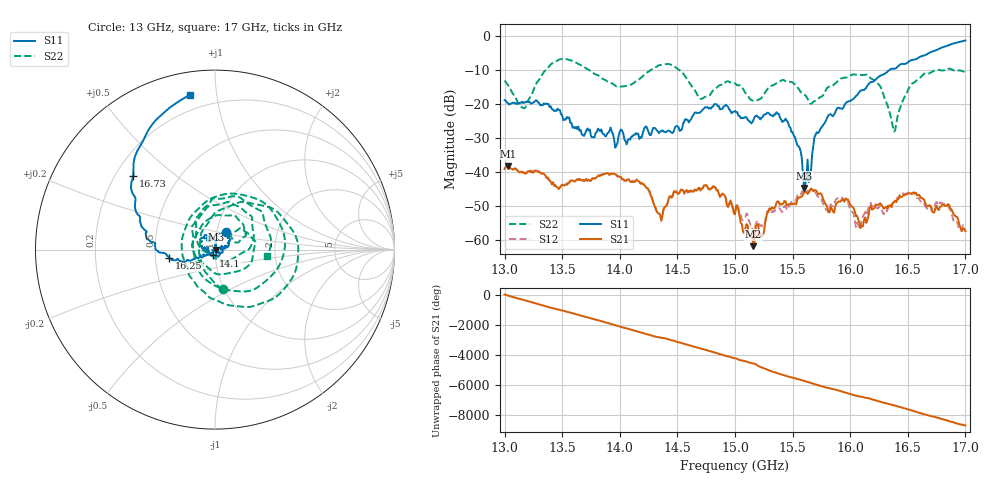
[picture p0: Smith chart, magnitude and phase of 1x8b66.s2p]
!Keysight Technologies,P9374A,MY57211807,A.19.30.04
!Date: Friday, May 08, 2026 14:30:42
!Correction: S11(C  2-Port  )
!S21(C  2-Port  )
!S12(C  2-Port  )
!S22(C  2-Port  )
!S2P File: Measurements: S11, S21, S12, S22:
# Hz S  dB  R 50
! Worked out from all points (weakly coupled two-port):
!   401 points, 13 GHz to 17 GHz, reference 50 ohm
!   highest |S21| = -38.08 dB at 13.03 GHz (marker M1); lowest = -61.7 dB at 15.16 GHz (marker M2)
!   lowest |S11| = -44.5 dB at 15.6 GHz (marker M3), VSWR 1.01, Z = 50.6 - j0.0519 ohm
!   |S11| at or under -10 dB: start of sweep to 16.34 GHz
!   |S22| runs from -28.0 to -6.7 dB; largest |S21 - S12| = 0.0011
!   S11 on the Smith chart (normalised r, x): 13 GHz: 1.11, +0.22; 14.1 GHz: 0.98, -0.06; 16.25 GHz: 0.59, -0.06; 16.73 GHz: 0.27, +0.36; 17 GHz: 0.12, +0.84
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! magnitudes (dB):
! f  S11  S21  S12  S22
! 13 GHz  -18.8  -39.0  -38.9  -13.0
! 13.03 GHz  -19.7  -38.1  -38.1  -14.4
! 13.17 GHz  -19.3  -40.0  -40.0  -21.2
! 13.41 GHz  -21.3  -43.4  -43.6  -8.0
! 13.67 GHz  -28.8  -42.3  -42.6  -8.6
! 14.1 GHz  -29.5  -42.8  -42.6  -14.1
! 14.34 GHz  -28.5  -52.1  -51.9  -8.5
! 14.74 GHz  -20.8  -43.9  -43.8  -17.8
! 15 GHz  -21.9  -52.3  -52.0  -13.8
! 15.16 GHz  -24.6  -61.7  -59.3  -18.9
! 15.45 GHz  -24.9  -49.7  -50.8  -13.3
! 15.6 GHz  -44.5  -45.8  -45.0  -17.1
! 15.67 GHz  -34.6  -45.0  -45.1  -19.6
! 15.81 GHz  -23.2  -51.6  -51.7  -14.9
! 15.97 GHz  -19.3  -48.0  -47.8  -12.1
! 16.09 GHz  -15.9  -56.4  -55.9  -11.3
! 16.25 GHz  -11.8  -49.5  -50.1  -14.2
! 16.34 GHz  -9.9  -50.0  -50.8  -22.1
! 16.39 GHz  -9.4  -48.3  -48.0  -27.6
! 16.52 GHz  -7.2  -46.1  -46.0  -14.5
! 16.73 GHz  -4.2  -51.8  -50.4  -10.1
! 17 GHz  -1.2  -57.3  -55.8  -10.6
